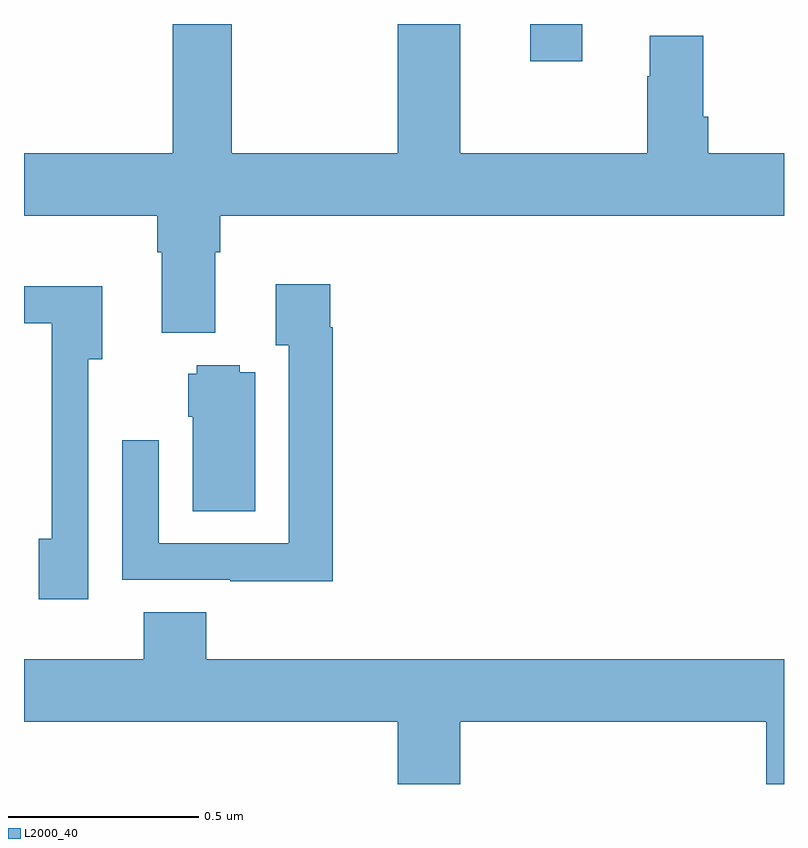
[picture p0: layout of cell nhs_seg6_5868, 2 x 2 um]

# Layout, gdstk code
import gdstk
lib = gdstk.Library(unit=1e-6, precision=1e-09)
def R(c, l, rs):  # rectangles x0, y0, x1, y1
    for r in rs: c.add(gdstk.rectangle(r[:2], r[2:], *l))
def P(c, l, *ps):  # polygons
    for p in ps: c.add(gdstk.Polygon(p, *l))
L2000_40 = (2000, 40)

nhs_seg6_5868 = lib.new_cell('nhs_seg6_5868')
R(nhs_seg6_5868, L2000_40, [(189.332,954.402,189.469,954.5)])
P(nhs_seg6_5868, L2000_40, [(188.503,953.9),(188.516,953.9),(188.516,953.996),(190,953.996),(190,954.16),(189.8,954.16),(189.8,954.256),(189.787,954.256),(189.787,954.469),(189.647,954.469),(189.647,954.362),(189.64,954.362),(189.64,954.16),(189.148,954.16),(189.148,954.5),(188.984,954.5),(188.984,954.16),(188.547,954.16),(188.547,954.5),(188.392,954.5),(188.392,954.16),(188,954.16),(188,953.996),(188.351,953.996),(188.351,953.9),(188.363,953.9),(188.363,953.687),(188.503,953.687)],
  [(188.813,953.702),(188.806,953.702),(188.806,953.815),(188.663,953.815),(188.663,953.654),(188.697,953.654),(188.697,953.133),(188.355,953.133),(188.355,953.404),(188.259,953.404),(188.259,953.037),(188.543,953.037),(188.543,953.033),(188.813,953.033)],
  [(188.169,953.618),(188.206,953.618),(188.206,953.81),(188,953.81),(188,953.712),(188.073,953.712),(188.073,953.146),(188.039,953.146),(188.039,952.986),(188.169,952.986)],
  [(188.608,953.584),(188.568,953.584),(188.568,953.602),(188.454,953.602),(188.454,953.58),(188.432,953.58),(188.432,953.466),(188.444,953.466),(188.444,953.218),(188.608,953.218)],
  [(189.148,952.664),(189.953,952.664),(189.953,952.5),(190,952.5),(190,952.828),(188.48,952.828),(188.48,952.952),(188.315,952.952),(188.315,952.828),(188,952.828),(188,952.664),(188.984,952.664),(188.984,952.5),(189.148,952.5)])

lib.write_gds('nhs_seg6_5868.gds')
